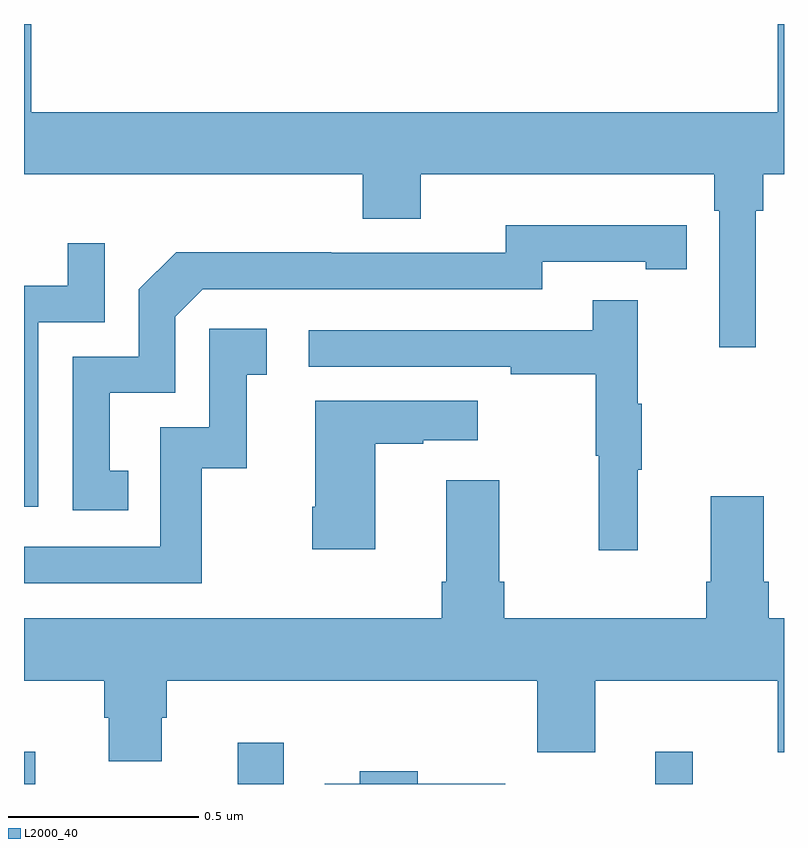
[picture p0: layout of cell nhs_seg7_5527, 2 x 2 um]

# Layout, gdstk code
import gdstk
lib = gdstk.Library(unit=1e-6, precision=1e-09)
def R(c, l, rs):  # rectangles x0, y0, x1, y1
    for r in rs: c.add(gdstk.rectangle(r[:2], r[2:], *l))
def P(c, l, *ps):  # polygons
    for p in ps: c.add(gdstk.Polygon(p, *l))
L2000_40 = (2000, 40)

nhs_seg7_5527 = lib.new_cell('nhs_seg7_5527')
R(nhs_seg7_5527, L2000_40, [(187,1011,187.029,1011.085), (187.562,1011,187.684,1011.109), (188.661,1011,188.76,1011.085)])
P(nhs_seg7_5527, L2000_40, [(188.926,1012.508),(188.945,1012.508),(188.945,1012.604),(189,1012.604),(189,1013),(188.984,1013),(188.984,1012.768),(187.019,1012.768),(187.019,1013),(187,1013),(187,1012.604),(187.892,1012.604),(187.892,1012.487),(188.044,1012.487),(188.044,1012.604),(188.816,1012.604),(188.816,1012.508),(188.829,1012.508),(188.829,1012.149),(188.926,1012.149)],
  [(187.274,1011.825),(187.225,1011.825),(187.225,1012.029),(187.398,1012.029),(187.398,1012.23),(187.47,1012.302),(188.364,1012.302),(188.364,1012.374),(188.636,1012.374),(188.636,1012.354),(188.744,1012.354),(188.744,1012.47),(188.636,1012.47),(188.636,1012.471),(188.268,1012.471),(188.268,1012.398),(187.808,1012.398),(187.808,1012.4),(187.4,1012.4),(187.302,1012.302),(187.302,1012.125),(187.128,1012.125),(187.128,1011.72),(187.274,1011.72)],
  [(187.038,1012.215),(187.212,1012.215),(187.212,1012.423),(187.115,1012.423),(187.115,1012.311),(187,1012.311),(187,1011.729),(187.038,1011.729)],
  [(188.615,1011.827),(188.626,1011.827),(188.626,1012.001),(188.615,1012.001),(188.615,1012.273),(188.497,1012.273),(188.497,1012.194),(187.749,1012.194),(187.749,1012.098),(188.281,1012.098),(188.281,1012.078),(188.505,1012.078),(188.505,1011.864),(188.512,1011.864),(188.512,1011.615),(188.615,1011.615)],
  [(187.468,1011.831),(187.586,1011.831),(187.586,1012.077),(187.639,1012.077),(187.639,1012.198),(187.488,1012.198),(187.488,1011.939),(187.359,1011.939),(187.359,1011.624),(187,1011.624),(187,1011.528),(187.468,1011.528)],
  [(187.924,1011.895),(188.051,1011.895),(188.051,1011.905),(188.194,1011.905),(188.194,1012.009),(187.766,1012.009),(187.766,1011.73),(187.759,1011.73),(187.759,1011.618),(187.924,1011.618)],
  [(187.363,1011.174),(187.376,1011.174),(187.376,1011.272),(188.351,1011.272),(188.351,1011.083),(188.503,1011.083),(188.503,1011.272),(188.984,1011.272),(188.984,1011.084),(189,1011.084),(189,1011.436),(188.96,1011.436),(188.96,1011.532),(188.947,1011.532),(188.947,1011.757),(188.807,1011.757),(188.807,1011.532),(188.795,1011.532),(188.795,1011.436),(188.264,1011.436),(188.264,1011.532),(188.251,1011.532),(188.251,1011.799),(188.111,1011.799),(188.111,1011.532),(188.099,1011.532),(188.099,1011.436),(187,1011.436),(187,1011.272),(187.211,1011.272),(187.211,1011.174),(187.223,1011.174),(187.223,1011.06),(187.363,1011.06)],
  [(188.267,1011.001),(188.036,1011.001),(188.036,1011.034),(187.883,1011.034),(187.883,1011.001),(187.791,1011.001),(187.791,1011),(188.267,1011)])

lib.write_gds('nhs_seg7_5527.gds')
